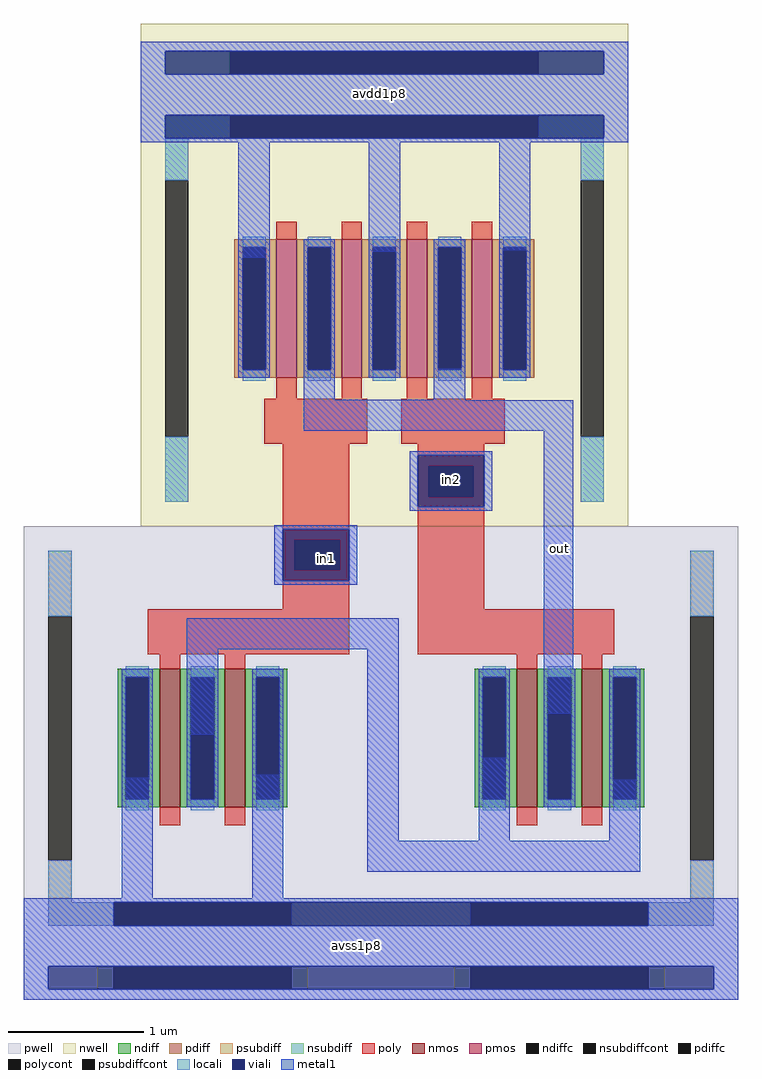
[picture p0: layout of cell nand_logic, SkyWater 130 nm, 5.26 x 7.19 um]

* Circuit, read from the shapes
.subckt nand_logic avdd1p8 avss1p8 in1 in2 out
XM1 n1 in1 avss1p8 avss1p8 sky130_fd_pr__nfet_01v8 w=1.02 l=0.15 m=2
XM2 out in2 n1 avss1p8 sky130_fd_pr__nfet_01v8 w=1.02 l=0.15 m=2
XM3 out in1 avdd1p8 avdd1p8 sky130_fd_pr__pfet_01v8 w=1.02 l=0.15 m=2
XM4 out in2 avdd1p8 avdd1p8 sky130_fd_pr__pfet_01v8 w=1.02 l=0.15 m=2
.ends

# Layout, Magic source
magic
tech sky130A
magscale 1 2
<< nwell >>
rect -47 532 671 707
<< pwell >>
rect -219 -731 833 -583
<< psubdiff >>
rect -111 -716 -87 -682
rect 175 -716 199 -682
rect 415 -716 439 -682
rect 701 -716 725 -682
<< nsubdiff >>
rect -11 632 85 666
rect 539 632 635 666
<< psubdiffcont >>
rect -87 -716 175 -682
rect 439 -716 701 -682
<< nsubdiffcont >>
rect 85 632 539 666
<< poly >>
rect 162 106 200 114
rect 162 -54 260 106
rect 162 -98 180 -54
rect 246 -98 260 -54
rect 162 -156 260 -98
rect 61 -220 260 -156
rect 125 -222 260 -220
rect 361 55 459 105
rect 361 10 377 55
rect 443 10 459 55
rect 361 -156 459 10
rect 361 -158 497 -156
rect 361 -222 553 -158
<< polycont >>
rect 180 -98 246 -54
rect 377 10 443 55
<< viali >>
rect -11 632 85 666
rect 85 632 539 666
rect 539 632 635 666
rect -11 538 635 572
rect 361 55 459 71
rect 361 10 377 55
rect 377 10 443 55
rect 443 10 459 55
rect 361 -5 459 10
rect 162 -54 260 -38
rect 162 -98 180 -54
rect 180 -98 246 -54
rect 246 -98 260 -54
rect 162 -114 260 -98
rect -87 -622 701 -588
rect -183 -716 -87 -682
rect -87 -716 175 -682
rect 175 -716 439 -682
rect 439 -716 701 -682
rect 701 -716 797 -682
<< metal1 >>
rect -47 666 671 680
rect -47 632 -11 666
rect 635 632 671 666
rect -47 572 671 632
rect -47 538 -11 572
rect 635 538 671 572
rect -47 532 671 538
rect 97 362 143 532
rect 289 371 335 532
rect 481 373 527 532
rect 193 153 239 195
rect 385 153 431 198
rect 193 152 431 153
rect 193 107 590 152
rect 349 71 471 77
rect 349 -5 361 71
rect 459 -5 471 71
rect 349 -11 471 -5
rect 150 -38 272 -32
rect 150 -114 162 -38
rect 260 -114 272 -38
rect 150 -120 272 -114
rect 21 -215 333 -169
rect 21 -341 67 -215
rect -75 -582 -29 -404
rect 117 -582 163 -400
rect 287 -497 333 -215
rect 547 -310 590 107
rect 451 -497 497 -375
rect 643 -497 689 -407
rect 287 -543 689 -497
rect -219 -588 833 -582
rect -219 -622 -87 -588
rect 701 -622 833 -588
rect -219 -682 833 -622
rect -219 -716 -183 -682
rect 797 -716 833 -682
rect -219 -731 833 -716
use sky130_fd_pr__nfet_01v8_XRJ78J  sky130_fd_pr__nfet_01v8_XRJ78J_1
transform -1 0 570 0 1 -346
box -263 -312 263 312
use sky130_fd_pr__nfet_01v8_XRJ78J  sky130_fd_pr__nfet_01v8_XRJ78J_0
transform 1 0 44 0 1 -346
box -263 -312 263 312
use sky130_fd_pr__pfet_01v8_75PKJG  sky130_fd_pr__pfet_01v8_75PKJG_0
transform 1 0 312 0 1 287
box -359 -321 359 321
<< labels >>
rlabel viali 211 -101 242 -62 1 in1
rlabel metal1 554 -86 585 -47 1 out
rlabel metal1 255 -671 286 -632 1 avss1p8
rlabel metal1 289 584 320 623 1 avdd1p8
rlabel metal1 395 15 426 54 1 in2
<< end >>

# cell sky130_fd_pr__nfet_01v8_XRJ78J: kit device sky130_fd_pr__nfet_01v8, w 1.02 l 0.150 m 1 nf 2 diffcov 100 polycov 100 guard 1 glc 1 grc 1 gtc 0 gbc 1 tbcov 100 rlcov 100 topc 1 botc 0 poverlap 1 doverlap 1 lmin 0.15 wmin 0.42 compatible {sky130_fd_pr__nfet_01v8 sky130_fd_pr__nfet_01v8_lvt sky130_fd_bs_flash__special_sonosfet_star sky130_fd_pr__nfet_g5v0d10v5 sky130_fd_pr__nfet_05v0_nvt sky130_fd_pr__nfet_03v3_nvt} full_metal 1 viasrc 100 viadrn 100 viagate 100 viagb 0 viagr 0 viagl 0 viagt 0

# cell sky130_fd_pr__pfet_01v8_75PKJG: kit device sky130_fd_pr__pfet_01v8, w 1.02 l 0.15 m 1 nf 4 diffcov 100 polycov 100 guard 1 glc 1 grc 1 gtc 1 gbc 0 tbcov 100 rlcov 100 topc 0 botc 1 poverlap 0 doverlap 1 lmin 0.15 wmin 0.42 compatible {sky130_fd_pr__pfet_01v8 sky130_fd_pr__pfet_01v8_lvt sky130_fd_pr__pfet_01v8_hvt sky130_fd_pr__pfet_g5v0d10v5} full_metal 1 viasrc 100 viadrn 100 viagate 100 viagb 0 viagr 0 viagl 0 viagt 0
